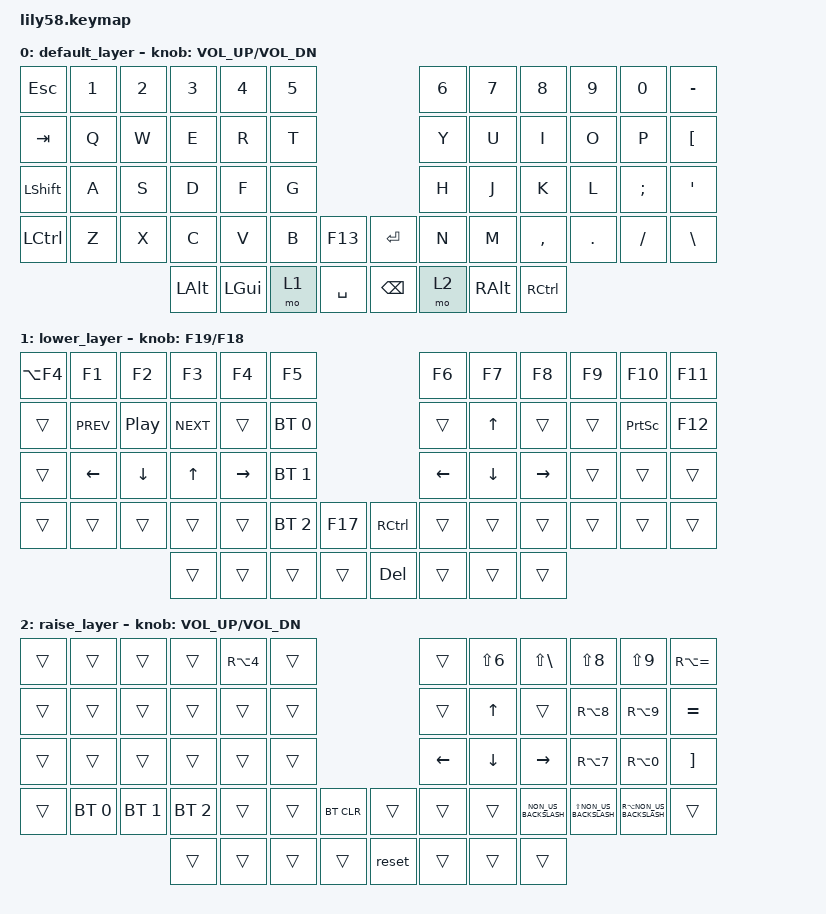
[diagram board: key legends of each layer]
/*
 * Copyright (c) 2020 The ZMK Contributors
 *
 * SPDX-License-Identifier: MIT
 */ 

#include <behaviors.dtsi>
#include <dt-bindings/zmk/keys.h>
#include <dt-bindings/zmk/bt.h>
#include <dt-bindings/zmk/ext_power.h>

// danish definitions below
#define AE	 SEMI	   // Æ
#define OE	 SQT	   // Ø
#define AA	 LBKT	   // Å
#define DK_PIPE	 RA(EQUAL) // |
#define DK_EXCL  LS(N1)    // !
#define DK_AT 	 RA(N2)    // @
#define DK_HASH	 LS(N3)    // #
#define DK_DLLR	 RA(N4)    // $
#define DK_PRCNT LS(N5)    // %
#define DK_AMPS	 LS(N6)	   // &
#define DK_STAR	 LS(BSLH)  // *
#define DK_LPAR	 LS(N8)    // (
#define DK_RPAR	 LS(N9)    // )
#define DK_LBKT  RA(N8)    // [
#define DK_RBKT  RA(N9)    // ]
#define DK_LBRC	 RA(N7)	   // {
#define DK_RBRC	 RA(N0)	   // }
#define DK_PLUS	 MINUS     // +
#define DK_DASH	 FSLH      // -
#define DK_APOS	 BSLH      // '
#define DK_EQL	 LS(N0)    // =
#define DK_QMARK LS(DK_PLUS) // ? 
#define DK_QUOT	 LS(N2)    // "
#define DK_COL	 LS(COMMA) // :
#define DK_SCOL  LS(DOT)   // ;
#define DK_TILDE RA(BLSH)  // ~ 
#define DK_LESS  NON_US_BACKSLASH // <
#define DK_MORE  LS(NON_US_BACKSLASH) // >
#define DK_BLSH	 RA(NON_US_BACKSLASH) // \

// personal defines
#define QUIT LA(F4)

/ {
	keymap {
		compatible = "zmk,keymap";

		default_layer {
// ------------------------------------------------------------------------------------------------------------
// |  ESC  |  1  |  2  |  3   |  4   |  5   |                   |  6   |  7    |  8    |  9   |   0   |   +   |
// |  TAB  |  Q  |  W  |  E   |  R   |  T   |                   |  Y   |  U    |  I    |  O   |   P   |   å   |
// | SHIFT |  A  |  S  |  D   |  F   |  G   |                   |  H   |  J    |  K    |  L   |   æ   |   ø   |
// |  CTRL |  Z  |  X  |  C   |  V   |  B   |  F13   |  | ENTER |  N   |  M    |  ,    |  .   |   -   |   '   |
//                     | ALT  | GUI  | LOWER|  SPACE |  | BSPS  | RAISE| BSPC  | GUI   |
			bindings = <
&kp ESC   &kp N1 &kp N2 &kp N3   &kp N4   &kp N5                     &kp N6 &kp N7   &kp N8    &kp N9  &kp N0      &kp DK_PLUS
&kp TAB   &kp Q  &kp W  &kp E    &kp R    &kp T                      &kp Y  &kp U    &kp I     &kp O   &kp P       &kp AA
&kp LSHFT &kp A  &kp S  &kp D    &kp F    &kp G                      &kp H  &kp J    &kp K     &kp L   &kp AE	   &kp OE
&kp LCTRL &kp Z  &kp X  &kp C    &kp V    &kp B  &kp F13    &kp RET  &kp N  &kp M    &kp COMMA &kp DOT &kp DK_DASH &kp DK_APOS
                        &kp LALT &kp LGUI &mo 1  &kp SPACE  &kp BSPC &mo 2  &kp RALT &kp RCTRL
			>;

			sensor-bindings = <&inc_dec_kp C_VOL_UP C_VOL_DN>;
		};

		lower_layer {
// ------------------------------------------------------------------------------------------------------------
// | LAF4  |  F1 |  F2 |  F3  |  F4  |  F5  |                   |  F6  |  F7   |  F8   |  F9  |  F10  |  F11  |
// |       |prev |play | next |      |      |                   |      |  UP   |       |      |PRSCRN |  F12  |
// |       |LEFT |DOWN |  UP  |RIGHT |      |                   | LEFT | DOWN  | RIGHT |      |       |       |
// |       |     |     |      |      |      |        |  |       |      |       |       |      |       |       |
//                     |      |      |      |        |  |       |      |       |       |
			bindings = <
&kp QUIT &kp F1	      &kp F2	&kp F3	     &kp F4	&kp F5                       	   &kp F6	&kp F7	  &kp F8      &kp F9    &kp F10    &kp F11
&trans	 &kp C_PREV   &kp C_PP	&kp C_NEXT   &trans	&bt BT_SEL 0		     	   &trans	&kp UP	  &trans      &trans    &kp PSCRN  &kp F12
&trans	 &kp LEFT     &kp DOWN	&kp UP	     &kp RIGHT	&bt BT_SEL 1		     	   &kp LEFT	&kp DOWN  &kp RIGHT   &trans    &trans     &trans
&trans	 &trans	      &trans	&trans	     &trans	&bt BT_SEL 2   &kp F17	 &kp RCTRL &trans	&trans	  &trans      &trans    &trans     &trans
				&trans	     &trans	&trans         &trans    &kp DEL   &trans	&trans	  &trans
			>;

			sensor-bindings = <&inc_dec_kp F19 F18>;
		};

		raise_layer {
// ------------------------------------------------------------------------------------------------------------
// |       |     |     |      |   $  |      |                   |      |   &   |   *   |  (   |   )   |  "|"  |
// |       |     |     |      |      |      |                   |      |  UP   |       |  [   |   ]   |   ´   |
// |       |     |     |      |      |      |                   | LEFT | DOWN  | RIGHT |  {   |   }   |   ¨   |
// |       | BT0 | BT1 | BT2  |      |      |BTCLEAR |  |       |      |       |   <   |  >   |   \   |       |
//                     |      |      |      |        |  |       |      |       |       |
			bindings = <
&trans	  &trans	&trans	       &trans	    &kp DK_DLLR  &trans				&trans    &kp DK_AMPS &kp DK_STAR   &kp DK_LPAR  &kp DK_RPAR  &kp DK_PIPE
&trans    &trans        &trans         &trans       &trans       &trans				&trans    &kp UP      &trans        &kp DK_LBKT  &kp DK_RBKT  &kp EQUAL
&trans    &trans        &trans         &trans       &trans       &trans				&kp LEFT  &kp DOWN    &kp RIGHT     &kp DK_LBRC  &kp DK_RBRC  &kp RBKT
&trans	  &bt BT_SEL 0  &bt BT_SEL 1   &bt BT_SEL 2 &trans       &trans  &bt BT_CLR   &trans    &trans    &trans      &kp DK_LESS   &kp DK_MORE  &kp DK_BLSH  &trans
                         	       &trans       &trans       &trans  &trans       &reset    &trans    &trans      &trans
			>;

			sensor-bindings = <&inc_dec_kp C_VOL_UP C_VOL_DN>;
		};
	};
};
